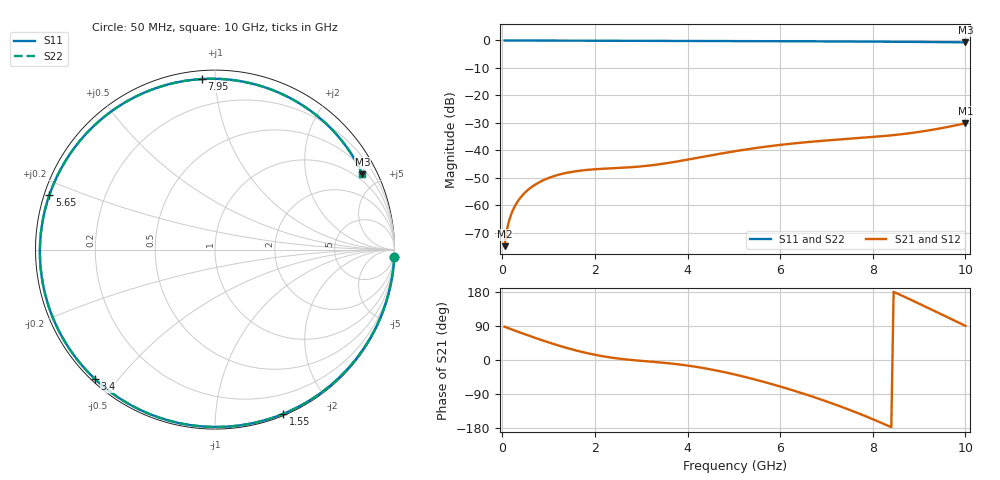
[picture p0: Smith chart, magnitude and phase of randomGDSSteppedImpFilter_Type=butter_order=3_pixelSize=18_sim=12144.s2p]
! freq	dB(S11)	phase(S11)	dB(S12)	phase(S12)
!  dB(S21)	phase(S21)	dB(S22)	phase(S22)
!S-par simulation data
#  GHz  S  DB  R 50
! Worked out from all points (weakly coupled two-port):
!   200 points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, 50 MHz to 10 GHz, reference 50 ohm
!   highest |S21| = -30.21 dB at 10 GHz (marker M1); lowest = -74.9 dB at 50 MHz (marker M2)
!   lowest |S11| = -0.7 dB at 10 GHz (marker M3), VSWR 24.76, Z = 36 + j202 ohm
!   |S11| at or under -10 dB: nowhere
!   |S22| runs from -0.7 to 0.0 dB; largest |S21 - S12| = 0
!   S11 on the Smith chart (normalised r, x): 50 MHz: 0, -50; 1.55 GHz: 0.02, -1.50; 3.4 GHz: 0.01, -0.44; 5.65 GHz: 0.01, +0.16; 7.95 GHz: 0.04, +0.93; 10 GHz: 0.72, +4.04
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0.05  -0.00 -2.3  -74.95 87.7  -74.95 87.7  -0.00 -2.3
0.1  -0.00 -4.6  -68.94 85.4  -68.94 85.4  -0.00 -4.6
0.2  -0.01 -9.1  -62.97 80.8  -62.97 80.8  -0.01 -9.1
0.3  -0.02 -13.7  -59.52 76.3  -59.52 76.3  -0.02 -13.7
0.45  -0.03 -20.4  -56.14 69.6  -56.14 69.6  -0.03 -20.4
0.65  -0.04 -29.3  -53.20 60.9  -53.20 60.9  -0.04 -29.3
0.9  -0.05 -40.3  -50.82 50.5  -50.82 50.5  -0.05 -40.3
1.55  -0.08 -67.5  -47.75 26.5  -47.75 26.5  -0.08 -67.5
1.75  -0.09 -75.4  -47.30 20.4  -47.30 20.4  -0.09 -75.4
2.1  -0.10 -88.8  -46.81 11.4  -46.81 11.4  -0.10 -88.7
2.5  -0.12 -103.2  -46.46 3.9  -46.46 3.9  -0.12 -103.2
3.4  -0.15 -133.0  -45.09 -6.4  -45.09 -6.4  -0.15 -132.9
4.2  -0.18 -157.1  -42.80 -18.3  -42.80 -18.3  -0.18 -157.1
5.05  -0.22 178.7  -40.28 -39.1  -40.28 -39.1  -0.22 178.7
5.65  -0.25 161.8  -38.79 -57.8  -38.79 -57.8  -0.25 161.8
6.15  -0.28 147.7  -37.77 -75.4  -37.77 -75.4  -0.28 147.7
6.7  -0.32 131.9  -36.86 -96.7  -36.86 -96.7  -0.32 132.0
7.35  -0.37 112.7  -36.00 -124.7  -36.00 -124.7  -0.37 112.8
7.95  -0.42 94.3  -35.25 -153.6  -35.25 -153.6  -0.42 94.4
8.35  -0.45 81.7  -34.66 -174.6  -34.66 -174.6  -0.45 81.7
9.15  -0.55 55.5  -32.93 140.0  -32.93 140.0  -0.55 55.6
10  -0.70 27.0  -30.21 90.2  -30.21 90.2  -0.70 27.1
